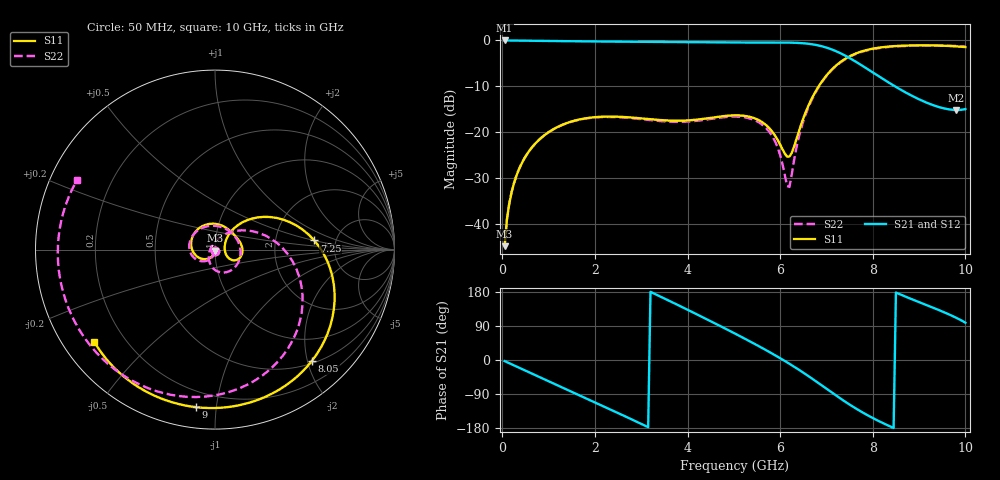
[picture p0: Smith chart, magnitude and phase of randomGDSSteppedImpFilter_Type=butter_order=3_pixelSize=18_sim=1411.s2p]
! freq	dB(S11)	phase(S11)	dB(S12)	phase(S12)
!  dB(S21)	phase(S21)	dB(S22)	phase(S22)
!S-par simulation data
#  GHz  S  DB  R 50
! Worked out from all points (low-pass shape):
!   200 points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, 50 MHz to 10 GHz, reference 50 ohm
!   highest |S21| = 0.00 dB at 50 MHz (marker M1); lowest = -15.1 dB at 9.8 GHz (marker M2)
!   |S21| within 3 dB of the highest: start of sweep to 7.346 GHz
!   lowest |S11| = -44.8 dB at 50 MHz (marker M3), VSWR 1.01, Z = 50 - j0.578 ohm
!   |S11| at or under -10 dB: start of sweep to 6.832 GHz
!   |S22| runs from -44.7 to -1.1 dB; largest |S21 - S12| = 0
!   S11 on the Smith chart (normalised r, x): 50 MHz: 1.00, -0.01; 7.25 GHz: 3.42, +0.51; 8.05 GHz: 0.55, -2.08; 9 GHz: 0.11, -0.88; 10 GHz: 0.09, -0.34
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0.05  -44.76 -90.4  -0.00 -2.9  -0.00 -2.9  -44.75 -89.5
0.1  -38.95 -94.3  -0.01 -5.7  -0.01 -5.7  -38.94 -93.0
0.2  -33.05 -101.8  -0.03 -11.3  -0.03 -11.3  -33.03 -99.1
0.5  -25.28 -121.7  -0.05 -28.1  -0.05 -28.1  -25.27 -115.0
1.15  -19.06 -163.0  -0.13 -64.3  -0.13 -64.3  -19.07 -147.3
1.75  -17.03 159.2  -0.20 -97.8  -0.20 -97.8  -17.07 -176.7
2.65  -16.67 103.6  -0.27 -148.5  -0.27 -148.5  -16.80 137.3
3.4  -17.31 63.0  -0.32 168.2  -0.32 168.2  -17.53 91.3
4.3  -17.12 26.3  -0.39 114.6  -0.39 114.6  -17.37 21.5
5.05  -16.29 -3.9  -0.46 68.1  -0.46 68.1  -16.57 -38.8
5.75  -18.92 -31.2  -0.46 22.3  -0.46 22.3  -19.68 -96.4
6.2  -25.26 10.8  -0.47 -9.9  -0.47 -9.9  -31.87 135.7
6.4  -19.90 45.9  -0.54 -25.4  -0.54 -25.4  -21.13 61.8
6.7  -12.32 42.5  -0.85 -50.0  -0.85 -50.0  -12.56 25.6
6.95  -8.27 27.2  -1.41 -71.5  -1.41 -71.5  -8.40 0.8
7.25  -5.10 5.3  -2.54 -97.3  -2.54 -97.3  -5.21 -27.4
7.6  -2.98 -20.1  -4.42 -125.4  -4.42 -125.4  -3.07 -57.4
8.05  -1.70 -48.9  -7.29 -156.3  -7.29 -156.3  -1.79 -90.6
8.35  -1.32 -65.5  -9.20 -173.9  -9.20 -173.9  -1.41 -109.9
9  -1.07 -96.8  -12.81 152.7  -12.81 152.7  -1.13 -147.3
9.8  -1.29 -132.9  -15.14 111.5  -15.14 111.5  -1.21 166.5
10  -1.45 -142.5  -14.93 98.5  -14.93 98.5  -1.30 153.4
